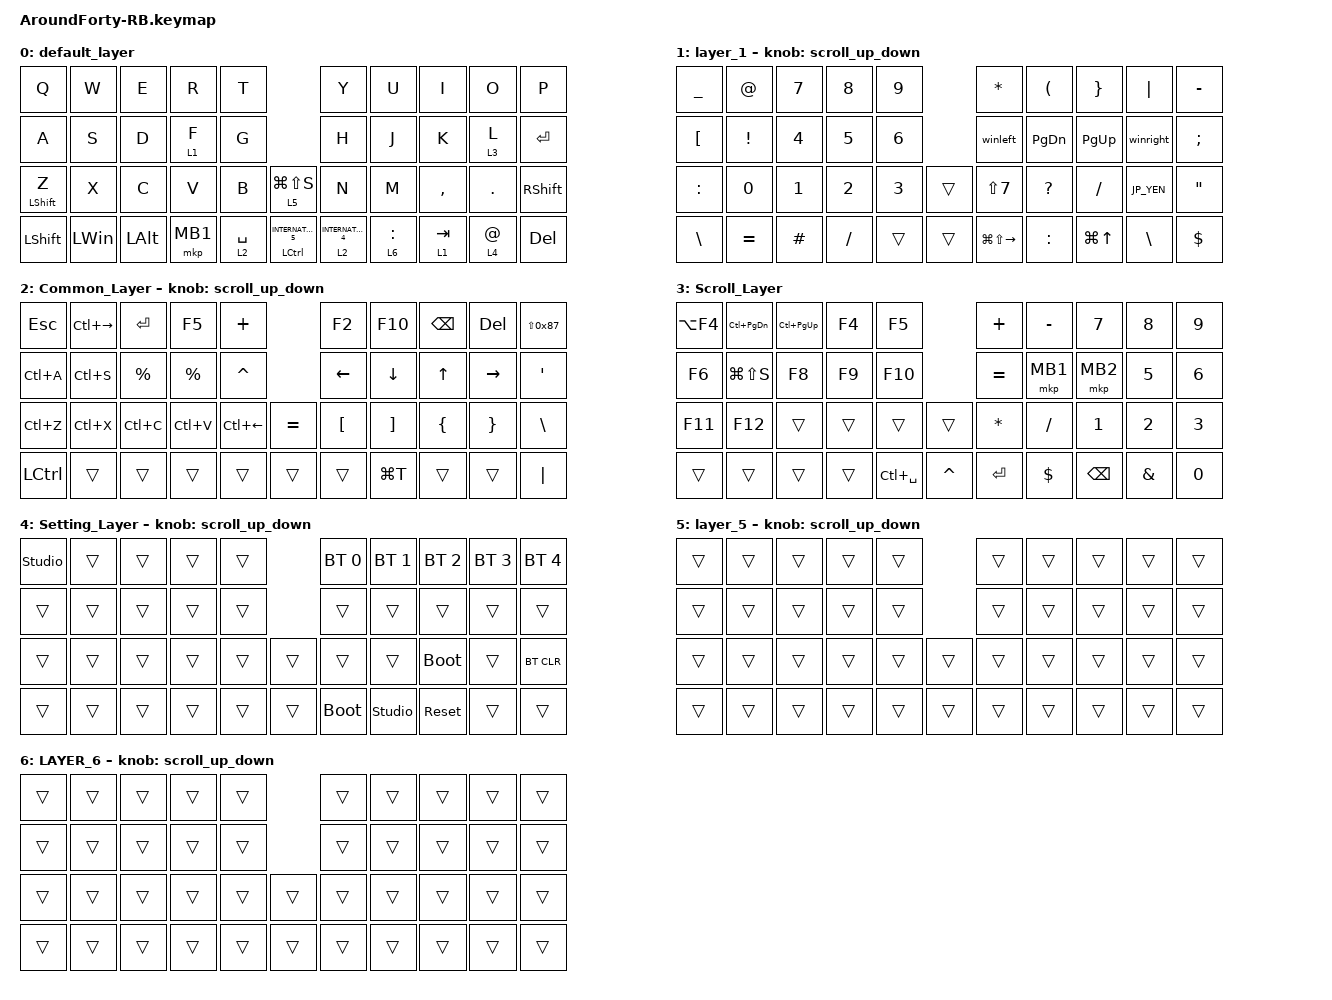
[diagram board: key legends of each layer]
#include <behaviors.dtsi>
#include <dt-bindings/zmk/bt.h>
#include <dt-bindings/zmk/keys.h>
#include <dt-bindings/zmk/pointing.h>

#define ZMK_POINTING_DEFAULT_SCRL_VAL 100
#define MOUSE 6
#define JP_DQUOTE       AT                // "
#define JP_AMPERSAND    CARET             // &
#define JP_QUOTE        AMPERSAND         // '
#define JP_EQUAL        UNDER             // =
#define JP_CARET        EQUAL             // ^
#define JP_YEN          0x89              // ¥
#define JP_PLUS         COLON             // +
#define JP_TILDE        PLUS              // ~
#define JP_PIPE         LS(0x89)          // |
#define JP_AT           LEFT_BRACKET      // @
#define JP_COLON        SINGLE_QUOTE      // :
#define JP_ASTERISK     DOUBLE_QUOTES     // *
#define JP_BACKQUOTE    LEFT_BRACE        // `
#define JP_UNDERSCORE   LS(0x87)          // _
#define JP_LBRACKET     RIGHT_BRACKET     // [
#define JP_RBRACKET     BACKSLASH         // ]
#define JP_LPAREN       ASTERISK          // (
#define JP_RPAREN       LEFT_PARENTHESIS  // )
#define JP_LBRACE       RIGHT_BRACE       // {
#define JP_RBRACE       PIPE              // }

&mt {
    flavor = "balanced";
    quick-tap-ms = <0>;
};

/ {
    combos { compatible = "zmk,combos"; };

    macros {
        to_layer_0: to_layer_0 {
            compatible = "zmk,behavior-macro-one-param";
            #binding-cells = <1>;
            bindings = <&to 0 &macro_param_1to1 &kp MACRO_PLACEHOLDER>;
            label = "TO_LAYER_0";
        };

        winleft: winleft {
            compatible = "zmk,behavior-macro";
            #binding-cells = <0>;
            bindings = <&macro_press &kp LEFT_GUI>
                , <&macro_tap &kp LEFT>
                , <&macro_release &kp LEFT_GUI>
                ;
            label = "WINLEFT";
        };

        winright: winright {
            compatible = "zmk,behavior-macro";
            #binding-cells = <0>;
            bindings = <&macro_press &kp LEFT_GUI>
                , <&macro_tap &kp RIGHT>
                , <&macro_release &kp LEFT_GUI>
                ;
            label = "WINRIGHT";
        };
    };

    behaviors {
        lt_to_layer_0: lt_to_layer_0 {
            compatible = "zmk,behavior-hold-tap";
            label = "LAYER_TAP_TO_0";
            bindings = <&mo>, <&to_layer_0>;

            #binding-cells = <2>;
            tapping-term-ms = <200>;
        };

        scroll_up_down: behavior_sensor_rotate_mouse_wheel_up_down {
            compatible = "zmk,behavior-sensor-rotate";
            #sensor-binding-cells = <0>;
            bindings = <&msc SCRL_UP>, <&msc SCRL_DOWN>;

            tap-ms = <20>;
        };
    };

    keymap {
        compatible = "zmk,keymap";

        default_layer {
            bindings = <
&kp Q             &kp W         &kp E         &kp R     &kp T                                   &kp Y                  &kp U        &kp I      &kp O          &kp P
&kp A             &kp S         &kp D         &lt 1 F   &kp G                                   &kp H                  &kp J        &kp K      &lt 3 L        &kp ENTER
&mt LEFT_SHIFT Z  &kp X         &kp C         &kp V     &kp B        &lt 5 LG(LS(S))            &kp N                  &kp M        &kp COMMA  &kp PERIOD     &kp RIGHT_SHIFT
&kp LEFT_SHIFT    &kp LEFT_WIN  &kp LEFT_ALT  &mkp MB1  &lt 2 SPACE  &mt LCTRL INTERNATIONAL_5  &lt 2 INTERNATIONAL_4  &lt 6 COLON  &lt 1 TAB  &lt 4 AT_SIGN  &kp DELETE
            >;
        };

        layer_1 {
            bindings = <
&kp JP_EQUAL   &kp JP_DQUOTE    &kp N7        &kp N8        &kp N9                &kp JP_LPAREN       &kp JP_RPAREN  &kp JP_LBRACE     &kp JP_RBRACE  &kp MINUS
&kp JP_AT      &kp EXCLAMATION  &kp NUMBER_4  &kp N5        &kp NUMBER_6          &winleft  &kp PG_DN      &kp PG_UP         &winright  &kp SEMICOLON
&kp JP_PLUS    &kp N0           &kp NUMBER_1  &kp NUMBER_2  &kp NUMBER_3  &trans  &kp LS(NUMBER_7)    &kp QUESTION   &kp SLASH         &kp JP_YEN     &kp JP_ASTERISK
&kp BACKSLASH  &kp JP_CARET     &kp HASH      &kp SLASH     &trans        &trans  &kp LG(LS(RIGHT))   &kp COLON      &kp LG(UP_ARROW)  &kp BACKSLASH  &kp DOLLAR
            >;

            sensor-bindings = <&scroll_up_down>;
        };

        Common_Layer {
            bindings = <
&kp ESCAPE  &kp LC(RIGHT)  &kp ENTER    &kp F5       &kp PLUS                     &kp F2            &kp F10            &kp BACKSPACE   &kp DELETE       &kp JP_UNDERSCORE
&kp LC(A)   &kp LC(S)      &kp PERCENT  &kp PERCENT  &kp JP_AMPERSAND             &kp LEFT          &kp DOWN           &kp UP_ARROW    &kp RIGHT        &kp JP_COLON
&kp LC(Z)   &kp LC(X)      &kp LC(C)    &kp LC(V)    &kp LC(LEFT)      &kp EQUAL  &kp LEFT_BRACKET  &kp RIGHT_BRACKET  &kp LEFT_BRACE  &kp RIGHT_BRACE  &kp BACKSLASH
&kp LCTRL   &trans         &trans       &trans       &trans            &trans     &trans            &kp LG(T)          &trans          &trans           &kp PIPE
            >;

            sensor-bindings = <&scroll_up_down>;
        };

        Scroll_Layer {
            bindings = <
&kp LA(F4)  &kp LC(PG_DN)  &kp LC(PG_UP)  &kp F4  &kp F5                    &kp PLUS      &kp MINUS   &kp NUMBER_7   &kp NUMBER_8   &kp NUMBER_9
&kp F6      &kp LG(LS(S))  &kp F8         &kp F9  &kp F10                   &kp EQUAL     &mkp MB1    &mkp MB2       &kp N5         &kp N6
&kp F11     &kp F12        &trans         &trans  &trans         &trans     &kp ASTERISK  &kp SLASH   &kp NUMBER_1   &kp NUMBER_2   &kp NUMBER_3
&trans      &trans         &trans         &trans  &kp LC(SPACE)  &kp CARET  &kp ENTER     &kp DOLLAR  &kp BACKSPACE  &kp AMPERSAND  &kp N0
            >;
        };

        Setting_Layer {
            bindings = <
&studio_unlock  &trans  &trans  &trans  &trans          &bt BT_SEL 0  &bt BT_SEL 1    &bt BT_SEL 2  &bt BT_SEL 3  &bt BT_SEL 4
&trans          &trans  &trans  &trans  &trans          &trans        &trans          &trans        &trans        &trans
&trans          &trans  &trans  &trans  &trans  &trans  &trans        &trans          &bootloader   &trans        &bt BT_CLR
&trans          &trans  &trans  &trans  &trans  &trans  &bootloader   &studio_unlock  &sys_reset    &trans        &trans
            >;

            sensor-bindings = <&scroll_up_down>;
        };

        layer_5 {
            bindings = <
&trans  &trans  &trans  &trans  &trans          &trans  &trans  &trans  &trans  &trans
&trans  &trans  &trans  &trans  &trans          &trans  &trans  &trans  &trans  &trans
&trans  &trans  &trans  &trans  &trans  &trans  &trans  &trans  &trans  &trans  &trans
&trans  &trans  &trans  &trans  &trans  &trans  &trans  &trans  &trans  &trans  &trans
            >;

            sensor-bindings = <&scroll_up_down>;
        };

        LAYER_6 {
            bindings = <
&trans  &trans  &trans  &trans  &trans          &trans  &trans  &trans  &trans  &trans
&trans  &trans  &trans  &trans  &trans          &trans  &trans  &trans  &trans  &trans
&trans  &trans  &trans  &trans  &trans  &trans  &trans  &trans  &trans  &trans  &trans
&trans  &trans  &trans  &trans  &trans  &trans  &trans  &trans  &trans  &trans  &trans
            >;

            sensor-bindings = <&scroll_up_down>;
        };
    };
};
